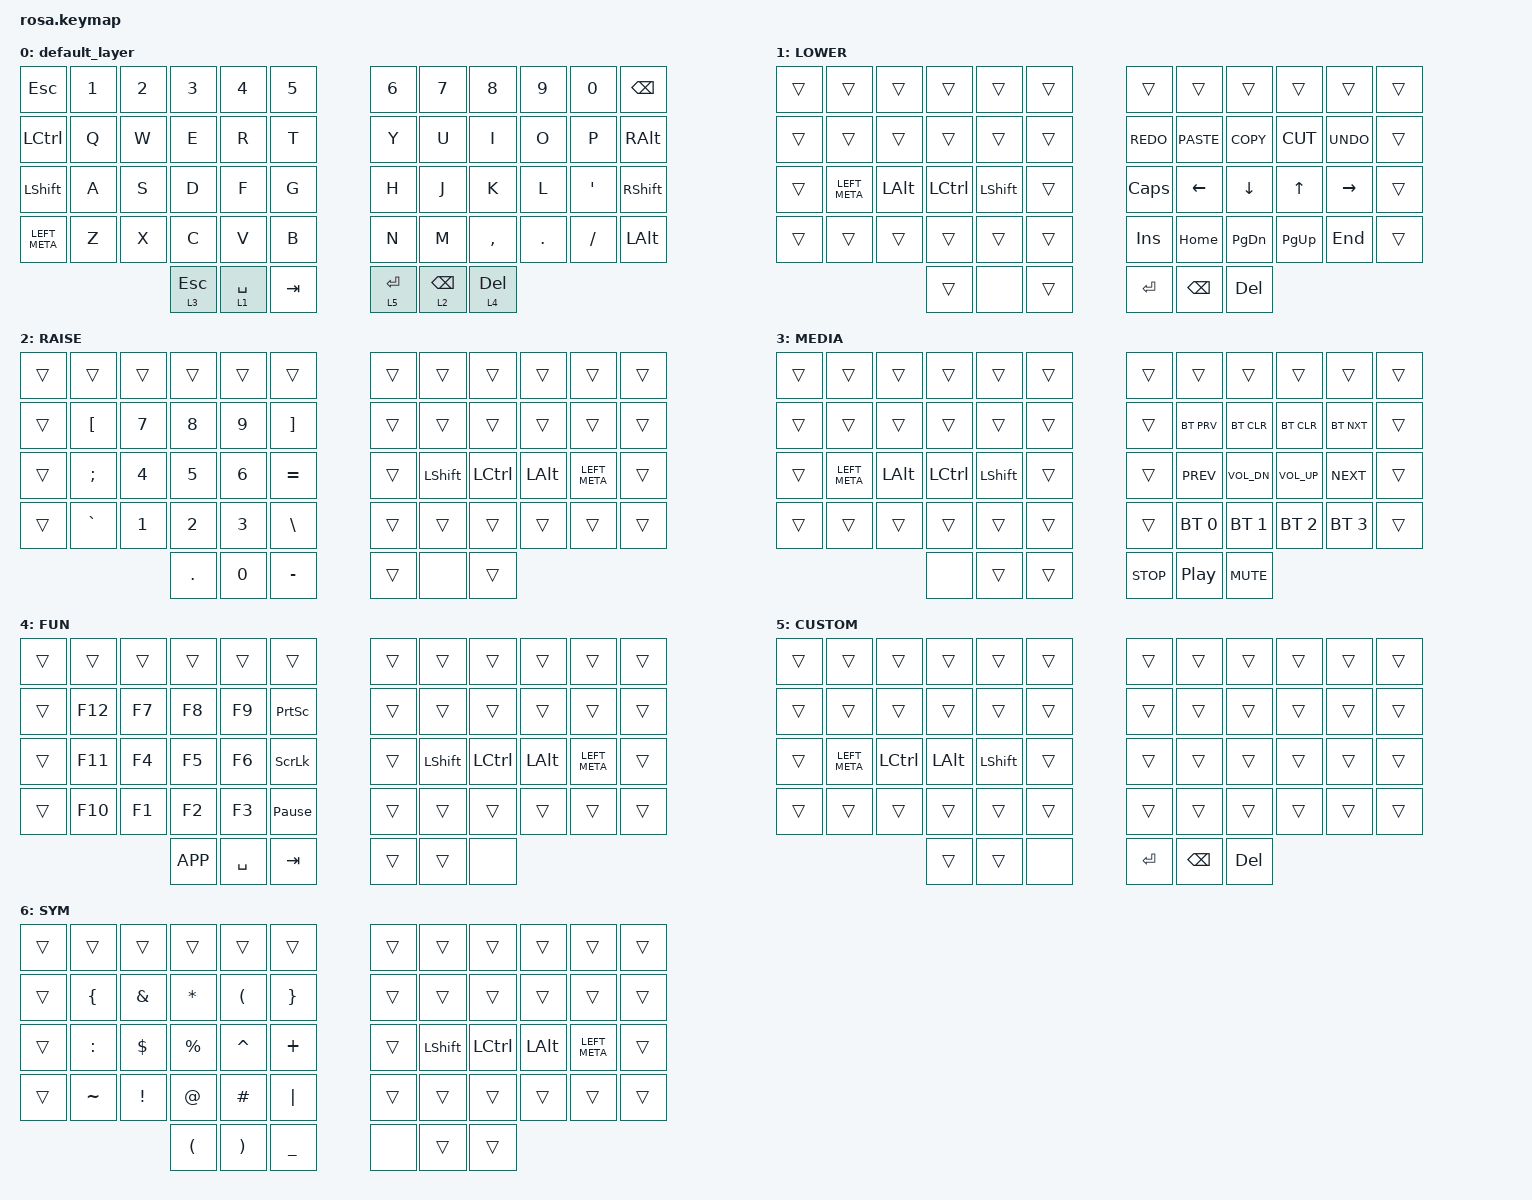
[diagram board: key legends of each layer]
/*
 * Copyright (c) 2021 The ZMK Contributors
 *
 * SPDX-License-Identifier: MIT
 */

#include <behaviors.dtsi>
#include <dt-bindings/zmk/keys.h>
#include <dt-bindings/zmk/bt.h>
/ {
    keymap {
        compatible = "zmk,keymap";
default_layer {
            bindings = <
        &kp ESC  &kp N1  &kp N2     &kp N3       &kp N4   &kp N5     &kp N6           &kp N7     &kp N8   &kp N9    &kp N0   &kp BSPC
      &kp LCTRL   &kp Q   &kp W      &kp E        &kp R    &kp T      &kp Y            &kp U      &kp I    &kp O     &kp P   &kp RALT
 &kp LEFT_SHIFT   &kp A   &kp S      &kp D        &kp F    &kp G      &kp H            &kp J      &kp K    &kp L   &kp SQT  &kp RSHFT
  &kp LEFT_META   &kp Z   &kp X      &kp C        &kp V    &kp B      &kp N            &kp M  &kp COMMA  &kp DOT  &kp FSLH   &kp LALT
                                 &lt 3 ESC  &lt 1 SPACE  &kp TAB  &lt 5 RET  &lt 2 BACKSPACE  &lt 4 DEL
            >;
        };
LOWER {
          bindings = <
 &trans         &trans    &trans     &trans     &trans  &trans        &trans         &trans         &trans       &trans      &trans  &trans
 &trans         &trans    &trans     &trans     &trans  &trans    &kp K_REDO    &kp K_PASTE     &kp K_COPY    &kp K_CUT  &kp K_UNDO  &trans
 &trans  &kp LEFT_META  &kp LALT  &kp LCTRL  &kp LSHFT  &trans  &kp CAPSLOCK       &kp LEFT       &kp DOWN       &kp UP   &kp RIGHT  &trans
 &trans         &trans    &trans     &trans     &trans  &trans    &kp INSERT       &kp HOME  &kp PAGE_DOWN  &kp PAGE_UP     &kp END  &trans
                                     &trans      &none  &trans     &kp ENTER  &kp BACKSPACE        &kp DEL
            >;
        };
RAISE {
          bindings = <
 &trans            &trans        &trans        &trans        &trans             &trans  &trans          &trans            &trans        &trans         &trans  &trans
 &trans  &kp LEFT_BRACKET  &kp NUMBER_7  &kp NUMBER_8  &kp NUMBER_9  &kp RIGHT_BRACKET  &trans          &trans            &trans        &trans         &trans  &trans
 &trans          &kp SEMI  &kp NUMBER_4  &kp NUMBER_5  &kp NUMBER_6          &kp EQUAL  &trans  &kp LEFT_SHIFT  &kp LEFT_CONTROL  &kp LEFT_ALT  &kp LEFT_META  &trans
 &trans         &kp GRAVE  &kp NUMBER_1  &kp NUMBER_2  &kp NUMBER_3      &kp BACKSLASH  &trans          &trans            &trans        &trans         &trans  &trans
                                              &kp DOT  &kp NUMBER_0          &kp MINUS  &trans           &none            &trans
            >;
        };
MEDIA {
          bindings = <
 &trans         &trans        &trans     &trans      &trans  &trans      &trans        &trans        &trans        &trans        &trans  &trans
 &trans         &trans        &trans     &trans      &trans  &trans      &trans    &bt BT_PRV    &bt BT_CLR    &bt BT_CLR    &bt BT_NXT  &trans
 &trans  &kp LEFT_META  &kp LEFT_ALT  &kp LCTRL  &kp LSHIFT  &trans      &trans    &kp C_PREV  &kp C_VOL_DN  &kp C_VOL_UP    &kp C_NEXT  &trans
 &trans         &trans        &trans     &trans      &trans  &trans      &trans  &bt BT_SEL 0  &bt BT_SEL 1  &bt BT_SEL 2  &bt BT_SEL 3  &trans
                                          &none      &trans  &trans  &kp C_STOP      &kp C_PP    &kp C_MUTE
          >;
        };
FUN {
          bindings = <
 &trans   &trans  &trans     &trans     &trans           &trans  &trans     &trans     &trans        &trans         &trans  &trans
 &trans  &kp F12  &kp F7     &kp F8     &kp F9  &kp PRINTSCREEN  &trans     &trans     &trans        &trans         &trans  &trans
 &trans  &kp F11  &kp F4     &kp F5     &kp F6   &kp SCROLLLOCK  &trans  &kp LSHFT  &kp LCTRL  &kp LEFT_ALT  &kp LEFT_META  &trans
 &trans  &kp F10  &kp F1     &kp F2     &kp F3  &kp PAUSE_BREAK  &trans     &trans     &trans        &trans         &trans  &trans
                          &kp K_APP  &kp SPACE          &kp TAB  &trans     &trans      &none
          >;
        };
CUSTOM {
          bindings = <
 &trans         &trans     &trans    &trans     &trans  &trans     &trans         &trans   &trans  &trans  &trans  &trans
 &trans         &trans     &trans    &trans     &trans  &trans     &trans         &trans   &trans  &trans  &trans  &trans
 &trans  &kp LEFT_META  &kp LCTRL  &kp LALT  &kp LSHFT  &trans     &trans         &trans   &trans  &trans  &trans  &trans
 &trans         &trans     &trans    &trans     &trans  &trans     &trans         &trans   &trans  &trans  &trans  &trans
                                     &trans     &trans   &none  &kp ENTER  &kp BACKSPACE  &kp DEL
          >;
        };
SYM {
          bindings = <
 &trans     &trans    &trans     &trans     &trans     &trans  &trans     &trans     &trans        &trans         &trans  &trans
 &trans   &kp LBRC  &kp AMPS  &kp ASTRK   &kp LPAR   &kp RBRC  &trans     &trans     &trans        &trans         &trans  &trans
 &trans  &kp COLON  &kp DLLR  &kp PRCNT  &kp CARET   &kp PLUS  &trans  &kp LSHFT  &kp LCTRL  &kp LEFT_ALT  &kp LEFT_META  &trans
 &trans  &kp TILDE  &kp EXCL     &kp AT   &kp HASH   &kp PIPE  &trans     &trans     &trans        &trans         &trans  &trans
                               &kp LPAR   &kp RPAR  &kp UNDER   &none     &trans     &trans
          >;
        };
MEDIA {
          bindings = <
 &trans         &trans        &trans     &trans      &trans  &trans      &trans        &trans        &trans        &trans        &trans  &trans
 &trans         &trans        &trans     &trans      &trans  &trans      &trans    &bt BT_PRV    &bt BT_CLR    &bt BT_CLR    &bt BT_NXT  &trans
 &trans  &kp LEFT_META  &kp LEFT_ALT  &kp LCTRL  &kp LSHIFT  &trans      &trans    &kp C_PREV  &kp C_VOL_DN  &kp C_VOL_UP    &kp C_NEXT  &trans
 &trans         &trans        &trans     &trans      &trans  &trans      &trans  &bt BT_SEL 0  &bt BT_SEL 1  &bt BT_SEL 2  &bt BT_SEL 3  &trans
                                          &none      &trans  &trans  &kp C_STOP      &kp C_PP    &kp C_MUTE
          >;
        };
FUN {
          bindings = <
 &trans   &trans  &trans     &trans     &trans           &trans  &trans     &trans     &trans        &trans         &trans  &trans
 &trans  &kp F12  &kp F7     &kp F8     &kp F9  &kp PRINTSCREEN  &trans     &trans     &trans        &trans         &trans  &trans
 &trans  &kp F11  &kp F4     &kp F5     &kp F6   &kp SCROLLLOCK  &trans  &kp LSHFT  &kp LCTRL  &kp LEFT_ALT  &kp LEFT_META  &trans
 &trans  &kp F10  &kp F1     &kp F2     &kp F3  &kp PAUSE_BREAK  &trans     &trans     &trans        &trans         &trans  &trans
                          &kp K_APP  &kp SPACE          &kp TAB  &trans     &trans      &none
          >;
        };
CUSTOM {
          bindings = <
 &trans         &trans     &trans    &trans     &trans  &trans     &trans         &trans   &trans  &trans  &trans  &trans
 &trans         &trans     &trans    &trans     &trans  &trans     &trans         &trans   &trans  &trans  &trans  &trans
 &trans  &kp LEFT_META  &kp LCTRL  &kp LALT  &kp LSHFT  &trans     &trans         &trans   &trans  &trans  &trans  &trans
 &trans         &trans     &trans    &trans     &trans  &trans     &trans         &trans   &trans  &trans  &trans  &trans
                                     &trans     &trans   &none  &kp ENTER  &kp BACKSPACE  &kp DEL
          >;
        };
SYM {
          bindings = <
 &trans     &trans    &trans     &trans     &trans     &trans  &trans     &trans     &trans        &trans         &trans  &trans
 &trans   &kp LBRC  &kp AMPS  &kp ASTRK   &kp LPAR   &kp RBRC  &trans     &trans     &trans        &trans         &trans  &trans
 &trans  &kp COLON  &kp DLLR  &kp PRCNT  &kp CARET   &kp PLUS  &trans  &kp LSHFT  &kp LCTRL  &kp LEFT_ALT  &kp LEFT_META  &trans
 &trans  &kp TILDE  &kp EXCL     &kp AT   &kp HASH   &kp PIPE  &trans     &trans     &trans        &trans         &trans  &trans
                               &kp LPAR   &kp RPAR  &kp UNDER   &none     &trans     &trans
          >;
        };
MEDIA {
          bindings = <
 &trans         &trans        &trans     &trans      &trans  &trans      &trans        &trans        &trans        &trans        &trans  &trans
 &trans         &trans        &trans     &trans      &trans  &trans      &trans    &bt BT_PRV    &bt BT_CLR    &bt BT_CLR    &bt BT_NXT  &trans
 &trans  &kp LEFT_META  &kp LEFT_ALT  &kp LCTRL  &kp LSHIFT  &trans      &trans    &kp C_PREV  &kp C_VOL_DN  &kp C_VOL_UP    &kp C_NEXT  &trans
 &trans         &trans        &trans     &trans      &trans  &trans      &trans  &bt BT_SEL 0  &bt BT_SEL 1  &bt BT_SEL 2  &bt BT_SEL 3  &trans
                                          &none      &trans  &trans  &kp C_STOP      &kp C_PP    &kp C_MUTE
          >;
        };
FUN {
          bindings = <
 &trans   &trans  &trans     &trans     &trans           &trans  &trans     &trans     &trans        &trans         &trans  &trans
 &trans  &kp F12  &kp F7     &kp F8     &kp F9  &kp PRINTSCREEN  &trans     &trans     &trans        &trans         &trans  &trans
 &trans  &kp F11  &kp F4     &kp F5     &kp F6   &kp SCROLLLOCK  &trans  &kp LSHFT  &kp LCTRL  &kp LEFT_ALT  &kp LEFT_META  &trans
 &trans  &kp F10  &kp F1     &kp F2     &kp F3  &kp PAUSE_BREAK  &trans     &trans     &trans        &trans         &trans  &trans
                          &kp K_APP  &kp SPACE          &kp TAB  &trans     &trans      &none
          >;
        };
CUSTOM {
          bindings = <
 &trans         &trans     &trans    &trans     &trans  &trans     &trans         &trans   &trans  &trans  &trans  &trans
 &trans         &trans     &trans    &trans     &trans  &trans     &trans         &trans   &trans  &trans  &trans  &trans
 &trans  &kp LEFT_META  &kp LCTRL  &kp LALT  &kp LSHFT  &trans     &trans         &trans   &trans  &trans  &trans  &trans
 &trans         &trans     &trans    &trans     &trans  &trans     &trans         &trans   &trans  &trans  &trans  &trans
                                     &trans     &trans   &none  &kp ENTER  &kp BACKSPACE  &kp DEL
          >;
        };

        SYM {
          bindings = <
 &trans     &trans    &trans     &trans     &trans     &trans  &trans     &trans     &trans        &trans         &trans  &trans
 &trans   &kp LBRC  &kp AMPS  &kp ASTRK   &kp LPAR   &kp RBRC  &trans     &trans     &trans        &trans         &trans  &trans
 &trans  &kp COLON  &kp DLLR  &kp PRCNT  &kp CARET   &kp PLUS  &trans  &kp LSHFT  &kp LCTRL  &kp LEFT_ALT  &kp LEFT_META  &trans
 &trans  &kp TILDE  &kp EXCL     &kp AT   &kp HASH   &kp PIPE  &trans     &trans     &trans        &trans         &trans  &trans
                               &kp LPAR   &kp RPAR  &kp UNDER   &none     &trans     &trans
          >;
        };
  };
};
